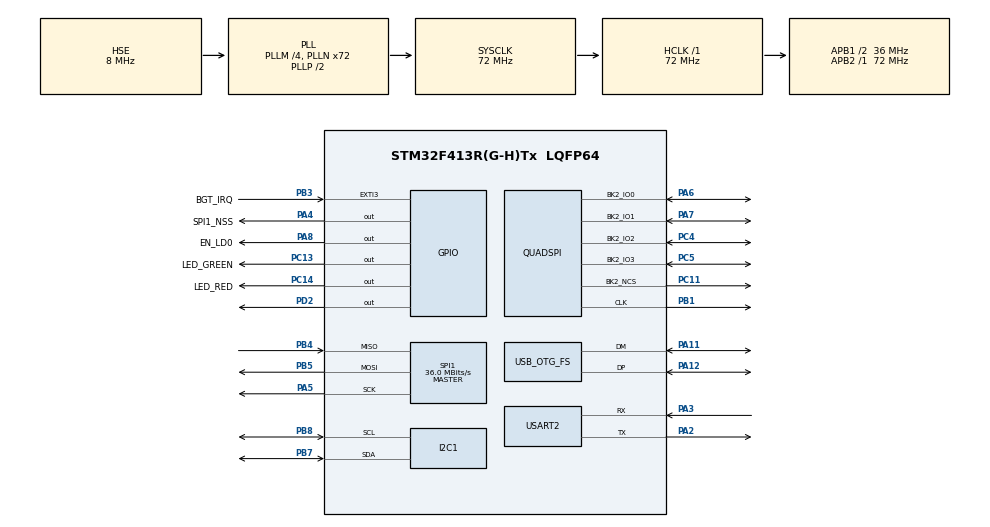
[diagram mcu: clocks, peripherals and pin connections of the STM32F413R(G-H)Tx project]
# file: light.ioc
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Mcu.Family=STM32F4
Mcu.Name=STM32F413R(G-H)Tx
Mcu.Package=LQFP64
NVIC.OTG_FS_IRQn=true\:0\:0\:false\:false\:true\:false\:true\:true
NVIC.PriorityGroup=NVIC_PRIORITYGROUP_4
PA11.Mode=Device_Only
PA11.Signal=USB_OTG_FS_DM
PA12.Mode=Device_Only
PA12.Signal=USB_OTG_FS_DP
PA13.Mode=Serial_Wire
PA13.Signal=SYS_JTMS-SWDIO
PA14.Mode=Serial_Wire
PA14.Signal=SYS_JTCK-SWCLK
PA2.Mode=Asynchronous
PA2.Signal=USART2_TX
PA3.Mode=Asynchronous
PA3.Signal=USART2_RX
PA4.GPIO_Label=SPI1_NSS
PA4.Signal=GPIO_Output
PA5.Mode=Full_Duplex_Master
PA5.Signal=SPI1_SCK
PA6.Mode=Single Bank 2
PA6.Signal=QUADSPI_BK2_IO0
PA7.Mode=Single Bank 2
PA7.Signal=QUADSPI_BK2_IO1
PA8.GPIO_Label=EN_LD0
PA8.PinState=GPIO_PIN_SET
PA8.Signal=GPIO_Output
PB1.Mode=Single Bank 2
PB1.Signal=QUADSPI_CLK
PB3.GPIO_Label=BGT_IRQ
PB3.Signal=GPXTI3
PB4.Mode=Full_Duplex_Master
PB4.Signal=SPI1_MISO
PB5.Mode=Full_Duplex_Master
PB5.Signal=SPI1_MOSI
PB7.Mode=I2C
PB7.Signal=I2C1_SDA
PB8.Mode=I2C
PB8.Signal=I2C1_SCL
PC11.Mode=Single Bank 2
PC11.Signal=QUADSPI_BK2_NCS
PC13.GPIO_Label=LED_GREEN
PC13.GPIO_ModeDefaultOutputPP=GPIO_MODE_OUTPUT_PP
PC13.GPIO_PuPd=GPIO_NOPULL
PC13.PinState=GPIO_PIN_SET
PC13.Signal=GPIO_Output
PC14-OSC32_IN.GPIO_Label=LED_RED
PC14-OSC32_IN.PinState=GPIO_PIN_SET
PC14-OSC32_IN.Signal=GPIO_Output
PC4.Mode=Single Bank 2
PC4.Signal=QUADSPI_BK2_IO2
PC5.Mode=Single Bank 2
PC5.Signal=QUADSPI_BK2_IO3
PD2.PinState=GPIO_PIN_SET
PD2.Signal=GPIO_Output
PH0\ -\ OSC_IN.Mode=HSE-External-Oscillator
PH0\ -\ OSC_IN.Signal=RCC_OSC_IN
PH1\ -\ OSC_OUT.Mode=HSE-External-Oscillator
PH1\ -\ OSC_OUT.Signal=RCC_OSC_OUT
ProjectManager.HeapSize=0x200
ProjectManager.StackSize=0x400
ProjectManager.TargetToolchain=MDK-ARM V5
RCC.AHBFreq_Value=72000000
RCC.APB1CLKDivider=RCC_HCLK_DIV2
RCC.APB1Freq_Value=36000000
RCC.APB1TimFreq_Value=72000000
RCC.APB2Freq_Value=72000000
RCC.APB2TimFreq_Value=72000000
RCC.CortexFreq_Value=72000000
RCC.HCLKFreq_Value=72000000
RCC.HSE_VALUE=8000000
RCC.PLLM=4
RCC.PLLN=72
RCC.PLLQ=3
RCC.PLLSourceVirtual=RCC_PLLSOURCE_HSE
RCC.SYSCLKFreq_VALUE=72000000
RCC.SYSCLKSource=RCC_SYSCLKSOURCE_PLLCLK
RCC.USBFreq_Value=48000000
RCC.VCOOutputFreq_Value=144000000
SPI1.CalculateBaudRate=36.0 MBits/s
SPI1.Direction=SPI_DIRECTION_2LINES
SPI1.Mode=SPI_MODE_MASTER
SPI1.VirtualType=VM_MASTER
USART2.VirtualMode=VM_ASYNC
USB_DEVICE.CLASS_NAME_FS=CDC
USB_DEVICE.VirtualMode=Cdc
USB_DEVICE.VirtualModeFS=Cdc_FS
USB_OTG_FS.VirtualMode=Device_Only
VP_USB_DEVICE_VS_USB_DEVICE_CDC_FS.Mode=CDC_FS
board=custom

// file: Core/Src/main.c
/* USER CODE BEGIN Header */
/**
 ******************************************************************************
 * @file           : main.c
 * @brief          : Main program body
 ******************************************************************************
 * @attention
 *
 * Copyright (c) 2023 STMicroelectronics.
 * All rights reserved.
 *
 * This software is licensed under terms that can be found in the LICENSE file
 * in the root directory of this software component.
 * If no LICENSE file comes with this software, it is provided AS-IS.
 *
 ******************************************************************************
 */
/* USER CODE END Header */
#include "main.h"
#include "i2c.h"
#include "quadspi.h"
#include "spi.h"
#include "usart.h"
#include "usb_device.h"
#include "gpio.h"

/* USER CODE BEGIN Includes */

#include "xensiv_bgt60trxx.h"
#include "presence_radar_settings.h"
#include <inttypes.h>
#include "usbd_cdc_if.h"
#include "interpeaks.h"
/* USER CODE END Includes */

/* USER CODE BEGIN PD */
#define XENSIV_BGT60TRXX_SPI_FREQUENCY (25000000UL) //define clk = 25MHZ
#define NUM_SAMPLES_PER_FRAME (XENSIV_BGT60TRXX_CONF_NUM_RX_ANTENNAS *      \
                               XENSIV_BGT60TRXX_CONF_NUM_CHIRPS_PER_FRAME * \
                               XENSIV_BGT60TRXX_CONF_NUM_SAMPLES_PER_CHIRP)
#define NUM_SAMPLES_PER_FRAME_ADC_RAW_DATA (NUM_SAMPLES_PER_FRAME * 3 / 2)
/* USER CODE END PD */

/* USER CODE BEGIN PV */
	static  xensiv_bgt60trxx_t sensor;
	static volatile bool data_available = false;

/* Allocate enough memory for the radar dara frame. */
static uint16_t samples[NUM_SAMPLES_PER_FRAME];
static uint8_t adcRawData[NUM_SAMPLES_PER_FRAME_ADC_RAW_DATA];
	bool tranformSpeed = false;
/* USER CODE END PV */

void SystemClock_Config(void);
/* USER CODE BEGIN PFP */
void HAL_GPIO_EXTI_Callback(uint16_t GPIO_Pin);
/* USER CODE END PFP */

/* USER CODE BEGIN 0 */
	void ti2infineon(float input[800],float output[1600] ) {
			for (int i = 0; i < 800; i++) {
					output[2 * i] = input[i];
			}
	}

	void BIT12_TO_BIT16(uint8_t *A, uint16_t *B, uint16_t Alen)
	{
		uint32_t tmp = 0;
		uint16_t *samplesPt = B;
		for (size_t i = 0; i < Alen; i = i + 3)
		{
			tmp = ((A[i] << 16) | (A[i + 1] << 8) | A[i + 2]);
			*samplesPt = ((tmp >> 12) & 0xfff);
			samplesPt++;
			*samplesPt = tmp & 0xfff;
			samplesPt++;
		}
	}
/* USER CODE END 0 */

int main(void)
{

  /* MCU Configuration--------------------------------------------------------*/

  /* Reset of all peripherals, Initializes the Flash interface and the Systick. */
  HAL_Init();

  /* Configure the system clock */
  SystemClock_Config();

  /* Initialize all configured peripherals */
  MX_GPIO_Init();
  MX_USB_DEVICE_Init();
  MX_SPI1_Init();
  MX_USART2_UART_Init();
  MX_QUADSPI_Init();
  MX_I2C1_Init();
  /* USER CODE BEGIN 2 */
  HAL_GPIO_WritePin(GPIOC, LED_GREEN_Pin | LED_RED_Pin, GPIO_PIN_SET);
  HAL_GPIO_WritePin(EN_LDO_GPIO_Port, EN_LDO_Pin, GPIO_PIN_SET);
  static xensiv_bgt60trxx_st_iface_t spiface;
  spiface.spi = &hspi1;
  spiface.selpin.GPIOx = SPI1_NSS_GPIO_Port;
  spiface.selpin.GPIO_Pin = SPI1_NSS_Pin;
  spiface.rstpin.GPIOx = BGT_RST_GPIO_Port;
  spiface.rstpin.GPIO_Pin = BGT_RST_Pin;

  uint32_t rslt;
  rslt = xensiv_bgt60trxx_init(&sensor, &spiface, tranformSpeed);
  xensiv_bgt60trxx_get_device(&sensor);
//	usb_printf("milli: %D,AMPLITUDE: %D",sensor.iface)

  uint32_t Nchipid;
  uint32_t NADC0;
	//uint32_t NSTAT1;
 // HAL_Delay(5000);
  xensiv_bgt60trxx_get_reg(&sensor, XENSIV_BGT60TRXX_REG_CHIP_ID, &Nchipid);
  usb_printf("chipid:%08X\n", Nchipid);
  xensiv_bgt60trxx_get_reg(&sensor, XENSIV_BGT60TRXX_REG_ADC0, &NADC0);
  usb_printf("ADC0:%08X\n", NADC0);
	 //xensiv_bgt60trxx_get_reg(&sensor, XENSIV_BGT60TRXX_REG_ADC0, &NSTAT1);
	//usb_printf("ADC0:%08X\n", NSTAT1);
  if (rslt == XENSIV_BGT60TRXX_STATUS_OK)
  {
    xensiv_bgt60trxx_hard_reset(&sensor);
  }
  if (rslt == XENSIV_BGT60TRXX_STATUS_OK)
  {
    rslt = xensiv_bgt60trxx_config(&sensor, register_list, XENSIV_BGT60TRXX_CONF_NUM_REGS);
  }
  if (rslt != XENSIV_BGT60TRXX_STATUS_OK)
  {
    goto Error_Assert;
  }
  if (xensiv_bgt60trxx_enable_data_test_mode(&sensor, false) != XENSIV_BGT60TRXX_STATUS_OK)
  {
    goto Error_Assert;
  }

  if (xensiv_bgt60trxx_start_frame(&sensor, true) != XENSIV_BGT60TRXX_STATUS_OK)
  {
    goto Error_Assert;
  }
HAL_Delay(1000);
  uint32_t frame_idx = 0;
  // uint16_t test_word = XENSIV_BGT60TRXX_INITIAL_TEST_WORD;
  // uint32_t tmp = 0;
  // uint16_t *samplesPt = samples;
  uint8_t headflag[] = {0x00, 0x01, 0x02, 0x03, 0x04, 0x05, 0x06, 0x07};

  /* USER CODE END 2 */

  /* Infinite loop */
  while (1)
  {

    /* USER CODE BEGIN 3 */

    /* Wait for the radar device to indicate the availability of the data to fetch. */
    while (data_available == false){
		};
    data_available = false;
    //CDC_Transmit_FS(headflag, 8);

    if (xensiv_bgt60trxx_get_fifo_data(&sensor, adcRawData,
                                       NUM_SAMPLES_PER_FRAME_ADC_RAW_DATA) == XENSIV_BGT60TRXX_STATUS_OK)
    {
      //xensiv_bgt60trxx_start_frame(&sensor, false);
      // for (size_t i = 0; i < NUM_SAMPLES_PER_FRAME_ADC_RAW_DATA; i = i + 3)
      // {
      //   tmp = ((adcRawData[i] << 16) | (adcRawData[i + 1] << 8) | adcRawData[i + 2]);
      //   *samplesPt = ((tmp >> 12) & 0xfff);
      //   samplesPt++;
      //   *samplesPt = tmp & 0xfff;
      //   samplesPt++;
      // }
      // for (int32_t sample_idx = 0; sample_idx < NUM_SAMPLES_PER_FRAME; ++sample_idx)
      // {
      //   if (test_word != samples[sample_idx])
      //   {
      //     usb_printf("Sam: error_1__  ");
      //     usb_printf("Frame %" PRIu32 " error detected. "
      //            "Expected: %" PRIu16 ". "
      //            "Received: %" PRIu16 "\n",
      //            frame_idx, test_word, samples[sample_idx]);
      //     // goto Error_Assert;
      //   }

      //   // Generate next test_word
      // test_word = xensiv_bgt60trxx_get_next_test_word(test_word);
      // }
      //CDC_Transmit_FS(adcRawData, NUM_SAMPLES_PER_FRAME_ADC_RAW_DATA);
     // xensiv_bgt60trxx_start_frame(&sensor, true);

		static unsigned short uv[2]={0,};
		float breath_count;
		float heart_count;
		static float test_data[1600] ={0.0,};
		uint16_t adcRaw_u16[128];

		BIT12_TO_BIT16(adcRawData,adcRaw_u16,192);

		//static unsigned short fv[128]= {1546, 1344, 1196, 887, 579, 374, 209, 68, 81, 233, 393, 505, 573, 629, 733, 772, 701, 556, 323, 189, 247, 353, 434, 552, 678, 762, 795, 757, 708, 653, 610, 640, 691, 701, 719, 710, 691, 728, 811, 929, 1007, 887, 737, 640, 525, 478, 533, 705, 870, 989, 1112, 1210, 1176, 1053, 982, 981, 970, 826, 638, 583, 627, 781, 964, 1050, 1078, 1133, 1180, 1230, 1277, 1303, 1236, 1051, 934, 910, 942, 1050, 1124, 1156, 1175, 1131, 1094, 1056, 1014, 1060, 1129, 1124, 1126, 1237, 1441, 1620, 1670, 1644, 1531, 1284, 970, 693, 650, 757, 860, 1017, 1202, 1309, 1354, 1404, 1391, 1248, 1147, 1150, 1145, 1169, 1269, 1435, 1587, 1720, 1847, 1888, 1840, 1820, 1761, 1604, 1401, 1268, 1238, 1246, 1274, 1304, 1297, 1271};

		volatile int start = HAL_GetTick();
		interpeaks(adcRaw_u16, &breath_count, &heart_count);
		volatile int end = HAL_GetTick();
		//HAL_GPIO_TogglePin(LED_GREEN_GPIO_Port,LED_GREEN_Pin);
		HAL_GPIO_TogglePin(LED_RED_GPIO_Port,LED_RED_Pin);
		//HAL_Delay(1000);
		usb_printf("time:%dms heart:%lf breath:%lf  %d-----\n",end-start,heart_count,breath_count,adcRaw_u16[0]);
//	 for(int i=0;i<128;i++){
//		usb_printf("%d \t",adcRaw_u16[i]);
//		}
//	 usb_printf("----------------------------\n");

    }
    else
    {
      goto Error_Assert;
    }

    // usb_printf("Frame %" PRIu32 " received correctly\n", frame_idx);
    frame_idx++;

    // goto Error_Assert;
    // HAL_Delay(1000);

//
//
//	void ti2infineon(float input[800],float test_data[1600] ) {
//    for (int i = 0; i < 800; i++) {
//        output[2 * i] = input[i];
//    }
//}

  }
Error_Assert:
  while (true)
  {
   // HAL_GPIO_TogglePin(LED_GREEN_GPIO_Port, LED_GREEN_Pin);
    HAL_GPIO_TogglePin(LED_RED_GPIO_Port, LED_RED_Pin);
    CDC_Transmit_FS("Error_Assert\n", 13);
    HAL_Delay(100);
  };
  /* USER CODE END 3 */
}

void SystemClock_Config(void)
{
  RCC_OscInitTypeDef RCC_OscInitStruct = {0};
  RCC_ClkInitTypeDef RCC_ClkInitStruct = {0};

  /** Configure the main internal regulator output voltage
  */
  __HAL_RCC_PWR_CLK_ENABLE();
  __HAL_PWR_VOLTAGESCALING_CONFIG(PWR_REGULATOR_VOLTAGE_SCALE1);

  /** Initializes the RCC Oscillators according to the specified parameters
  * in the RCC_OscInitTypeDef structure.
  */
  RCC_OscInitStruct.OscillatorType = RCC_OSCILLATORTYPE_HSE;
  RCC_OscInitStruct.HSEState = RCC_HSE_ON;
  RCC_OscInitStruct.PLL.PLLState = RCC_PLL_ON;
  RCC_OscInitStruct.PLL.PLLSource = RCC_PLLSOURCE_HSE;
  RCC_OscInitStruct.PLL.PLLM = 4;
  RCC_OscInitStruct.PLL.PLLN = 72;
  RCC_OscInitStruct.PLL.PLLP = RCC_PLLP_DIV2;
  RCC_OscInitStruct.PLL.PLLQ = 3;
  RCC_OscInitStruct.PLL.PLLR = 2;
  if (HAL_RCC_OscConfig(&RCC_OscInitStruct) != HAL_OK)
  {
    Error_Handler();
  }

  /** Initializes the CPU, AHB and APB buses clocks
  */
  RCC_ClkInitStruct.ClockType = RCC_CLOCKTYPE_HCLK|RCC_CLOCKTYPE_SYSCLK
                              |RCC_CLOCKTYPE_PCLK1|RCC_CLOCKTYPE_PCLK2;
  RCC_ClkInitStruct.SYSCLKSource = RCC_SYSCLKSOURCE_PLLCLK;
  RCC_ClkInitStruct.AHBCLKDivider = RCC_SYSCLK_DIV1;
  RCC_ClkInitStruct.APB1CLKDivider = RCC_HCLK_DIV2;
  RCC_ClkInitStruct.APB2CLKDivider = RCC_HCLK_DIV1;

  if (HAL_RCC_ClockConfig(&RCC_ClkInitStruct, FLASH_LATENCY_2) != HAL_OK)
  {
    Error_Handler();
  }
}

/* USER CODE BEGIN 4 */
void HAL_GPIO_EXTI_Callback(uint16_t GPIO_Pin)
{
  data_available = true;
}
/* USER CODE END 4 */

void Error_Handler(void)
{
  __disable_irq();
  while (1)
  {
  }
}
